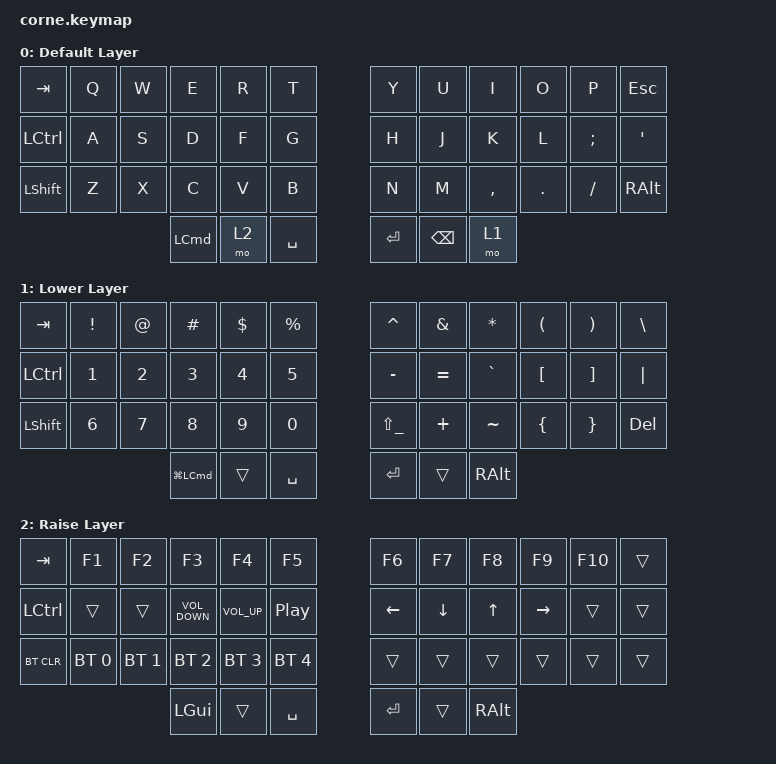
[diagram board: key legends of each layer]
/*
 * Copyright (c) 2020 The ZMK Contributors
 *
 * SPDX-License-Identifier: MIT
 */

#include <behaviors.dtsi>
#include <dt-bindings/zmk/bt.h>
#include <dt-bindings/zmk/keys.h>

/ {
    keymap {
        compatible = "zmk,keymap";

        default_layer {
            display-name = "Default Layer";

            // -----------------------------------------------------------------------------------------
            // |  TAB |  Q  |  W  |  E  |  R  |  T  |   |  Y  |  U   |  I  |  O  |  P  | BSPC |
            // | CTRL |  A  |  S  |  D  |  F  |  G  |   |  H  |  J   |  K  |  L  |  ;  |  '   |
            // | SHFT |  Z  |  X  |  C  |  V  |  B  |   |  N  |  M   |  ,  |  .  |  /  | ESC  |
            //                    | GUI | LWR | SPC |   | ENT | RSE  | ALT |

            bindings = <
&kp TAB    &kp Q  &kp W  &kp E             &kp R  &kp T        &kp Y    &kp U          &kp I      &kp O    &kp P     &kp ESC
&kp LCTRL  &kp A  &kp S  &kp D             &kp F  &kp G        &kp H    &kp J          &kp K      &kp L    &kp SEMI  &kp SQT
&kp LSHFT  &kp Z  &kp X  &kp C             &kp V  &kp B        &kp N    &kp M          &kp COMMA  &kp DOT  &kp FSLH  &kp RIGHT_ALT
                         &kp LEFT_COMMAND  &mo 2  &kp SPACE    &kp RET  &kp BACKSPACE  &mo 1
            >;
        };

        lower_layer {
            display-name = "Lower Layer";

            // -----------------------------------------------------------------------------------------
            // |  TAB |  1  |  2  |  3  |  4  |  5  |   |  6  |  7  |  8  |  9  |  0  | BSPC |
            // | BTCLR| BT1 | BT2 | BT3 | BT4 | BT5 |   | LFT | DWN |  UP | RGT |     |      |
            // | SHFT |     |     |     |     |     |   |     |     |     |     |     |      |
            //                    | GUI |     | SPC |   | ENT |     | ALT |

            bindings = <
&kp TAB           &kp EXCLAMATION  &kp AT_SIGN   &kp HASH              &kp DOLLAR    &kp PERCENT    &kp CARET           &kp AMPERSAND  &kp ASTERISK  &kp LEFT_PARENTHESIS  &kp RIGHT_PARENTHESIS  &kp BACKSLASH
&kp LEFT_CONTROL  &kp NUMBER_1     &kp NUMBER_2  &kp NUMBER_3          &kp NUMBER_4  &kp N5         &kp MINUS           &kp EQUAL      &kp GRAVE     &kp LEFT_BRACKET      &kp RIGHT_BRACKET      &kp PIPE
&kp LSHFT         &kp NUMBER_6     &kp N7        &kp N8                &kp N9        &kp N0         &kp LS(UNDERSCORE)  &kp PLUS       &kp TILDE     &kp LEFT_BRACE        &kp RIGHT_BRACE        &kp DEL
                                                 &kp LG(LEFT_COMMAND)  &trans        &kp SPACE      &kp RET             &trans         &kp RALT
            >;
        };

        raise_layer {
            display-name = "Raise Layer";

            // -----------------------------------------------------------------------------------------
            // |  TAB |  !  |  @  |  #  |  $  |  %  |   |  ^  |  &  |  *  |  (  |  )  | BSPC |
            // | CTRL |     |     |     |     |     |   |  -  |  =  |  [  |  ]  |  \  |  `   |
            // | SHFT |     |     |     |     |     |   |  _  |  +  |  {  |  }  | "|" |  ~   |
            //                    | GUI |     | SPC |   | ENT |     | ALT |

            bindings = <
&kp TAB     &kp F1        &kp F2        &kp F3             &kp F4           &kp F5              &kp F6    &kp F7    &kp F8        &kp F9     &kp F10  &trans
&kp LCTRL   &trans        &trans        &kp C_VOLUME_DOWN  &kp C_VOLUME_UP  &kp C_PLAY_PAUSE    &kp LEFT  &kp DOWN  &kp UP_ARROW  &kp RIGHT  &trans   &trans
&bt BT_CLR  &bt BT_SEL 0  &bt BT_SEL 1  &bt BT_SEL 2       &bt BT_SEL 3     &bt BT_SEL 4        &trans    &trans    &trans        &trans     &trans   &trans
                                        &kp LGUI           &trans           &kp SPACE           &kp RET   &trans    &kp RALT
            >;
        };
    };
};
